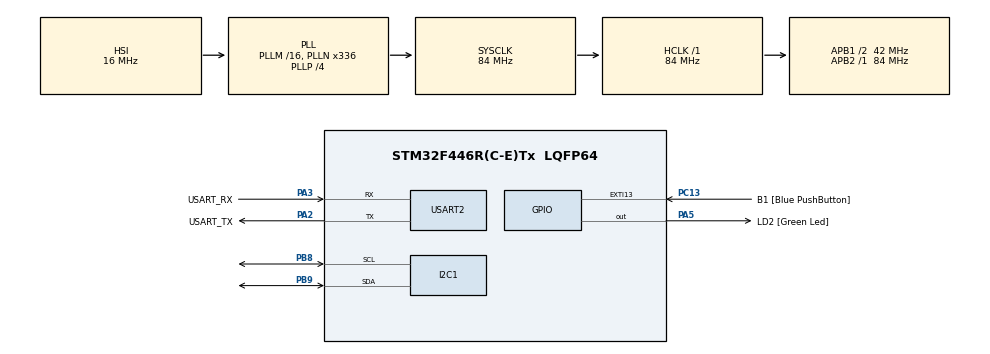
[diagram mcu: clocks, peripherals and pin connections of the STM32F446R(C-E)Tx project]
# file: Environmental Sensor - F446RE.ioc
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Dma.I2C1_RX.1.Direction=DMA_PERIPH_TO_MEMORY
Dma.I2C1_RX.1.FIFOMode=DMA_FIFOMODE_DISABLE
Dma.I2C1_RX.1.Instance=DMA1_Stream0
Dma.I2C1_RX.1.MemDataAlignment=DMA_MDATAALIGN_BYTE
Dma.I2C1_RX.1.MemInc=DMA_MINC_ENABLE
Dma.I2C1_RX.1.Mode=DMA_NORMAL
Dma.I2C1_RX.1.PeriphDataAlignment=DMA_PDATAALIGN_BYTE
Dma.I2C1_RX.1.PeriphInc=DMA_PINC_DISABLE
Dma.I2C1_RX.1.Priority=DMA_PRIORITY_LOW
Dma.I2C1_TX.0.Direction=DMA_MEMORY_TO_PERIPH
Dma.I2C1_TX.0.FIFOMode=DMA_FIFOMODE_DISABLE
Dma.I2C1_TX.0.Instance=DMA1_Stream6
Dma.I2C1_TX.0.MemDataAlignment=DMA_MDATAALIGN_BYTE
Dma.I2C1_TX.0.MemInc=DMA_MINC_ENABLE
Dma.I2C1_TX.0.Mode=DMA_NORMAL
Dma.I2C1_TX.0.PeriphDataAlignment=DMA_PDATAALIGN_BYTE
Dma.I2C1_TX.0.PeriphInc=DMA_PINC_DISABLE
Dma.I2C1_TX.0.Priority=DMA_PRIORITY_LOW
Dma.Request0=I2C1_TX
Dma.Request1=I2C1_RX
Mcu.Family=STM32F4
Mcu.Name=STM32F446R(C-E)Tx
Mcu.Package=LQFP64
NVIC.DMA1_Stream0_IRQn=true\:0\:0\:false\:false\:true\:false\:true\:true
NVIC.DMA1_Stream6_IRQn=true\:0\:0\:false\:false\:true\:false\:true\:true
NVIC.I2C1_EV_IRQn=true\:0\:0\:false\:false\:true\:true\:true\:true
NVIC.PriorityGroup=NVIC_PRIORITYGROUP_0
PA13.GPIO_Label=TMS
PA13.Mode=Serial_Wire
PA13.Signal=SYS_JTMS-SWDIO
PA14.GPIO_Label=TCK
PA14.Mode=Serial_Wire
PA14.Signal=SYS_JTCK-SWCLK
PA2.GPIO_Label=USART_TX
PA2.Mode=Asynchronous
PA2.Signal=USART2_TX
PA3.GPIO_Label=USART_RX
PA3.Mode=Asynchronous
PA3.Signal=USART2_RX
PA5.GPIO_Label=LD2 [Green Led]
PA5.Signal=GPIO_Output
PB3.GPIO_Label=SWO
PB3.Signal=SYS_JTDO-SWO
PB8.GPIO_Pu=GPIO_PULLUP
PB8.Mode=I2C
PB8.Signal=I2C1_SCL
PB9.GPIO_Pu=GPIO_PULLUP
PB9.Mode=I2C
PB9.Signal=I2C1_SDA
PC13.GPIO_Label=B1 [Blue PushButton]
PC13.GPIO_ModeDefaultEXTI=GPIO_MODE_IT_FALLING
PC13.Signal=GPXTI13
PC14-OSC32_IN.Mode=LSE-External-Oscillator
PC14-OSC32_IN.Signal=RCC_OSC32_IN
PC15-OSC32_OUT.Mode=LSE-External-Oscillator
PC15-OSC32_OUT.Signal=RCC_OSC32_OUT
PH0-OSC_IN.Mode=HSE-External-Oscillator
PH0-OSC_IN.Signal=RCC_OSC_IN
PH1-OSC_OUT.Mode=HSE-External-Oscillator
PH1-OSC_OUT.Signal=RCC_OSC_OUT
ProjectManager.HeapSize=0x200
ProjectManager.StackSize=0x400
ProjectManager.TargetToolchain=STM32CubeIDE
RCC.48MHZClocksFreq_Value=84000000
RCC.AHBFreq_Value=84000000
RCC.APB1CLKDivider=RCC_HCLK_DIV2
RCC.APB1Freq_Value=42000000
RCC.APB1TimFreq_Value=84000000
RCC.APB2Freq_Value=84000000
RCC.APB2TimFreq_Value=84000000
RCC.CortexFreq_Value=84000000
RCC.FLatency-AdvancedSettings=FLASH_LATENCY_2
RCC.HCLKFreq_Value=84000000
RCC.HSE_VALUE=8000000
RCC.HSI_VALUE=16000000
RCC.PLLN=336
RCC.PLLP=RCC_PLLP_DIV4
RCC.SYSCLKFreq_VALUE=84000000
RCC.SYSCLKSource=RCC_SYSCLKSOURCE_PLLCLK
RCC.USBFreq_Value=168000000
RCC.VCOOutputFreq_Value=336000000
USART2.VirtualMode=VM_ASYNC
board=NUCLEO-F446RE

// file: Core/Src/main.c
/* USER CODE BEGIN Header */
/**
  ******************************************************************************
  * @file           : main.c
  * @brief          : Main program body
  ******************************************************************************
  * @attention
  *
  * Copyright (c) 2023 STMicroelectronics.
  * All rights reserved.
  *
  * This software is licensed under terms that can be found in the LICENSE file
  * in the root directory of this software component.
  * If no LICENSE file comes with this software, it is provided AS-IS.
  *
  ******************************************************************************
  */
/* USER CODE END Header */
#include "main.h"

/* USER CODE BEGIN Includes */
#include <string.h>
#include <stdio.h>
/* USER CODE END Includes */

I2C_HandleTypeDef hi2c1;
DMA_HandleTypeDef hdma_i2c1_tx;
DMA_HandleTypeDef hdma_i2c1_rx;

UART_HandleTypeDef huart2;

/* USER CODE BEGIN PV */
static const uint8_t ENS160_ADDR = 0x53 << 1; // Use 8-bit address
// Register addresses
static const uint8_t REG_PART_ID = 0x00;
static const uint8_t REG_OPMODE = 0x10;
static const uint8_t REG_DATA_T = 0x30;
static const uint8_t REG_DATA_TVOC = 0x22;
// Register values
static const uint8_t OPMODE_STANDARD = 0x02;
/* USER CODE END PV */

void SystemClock_Config(void);
static void MX_GPIO_Init(void);
static void MX_DMA_Init(void);
static void MX_USART2_UART_Init(void);
static void MX_I2C1_Init(void);

int main(void)
{
  /* USER CODE BEGIN 1 */
	HAL_StatusTypeDef ret;
  uint8_t buf[24];
  int16_t val;
  /* USER CODE END 1 */

  /* MCU Configuration--------------------------------------------------------*/

  /* Reset of all peripherals, Initializes the Flash interface and the Systick. */
  HAL_Init();

  /* Configure the system clock */
  SystemClock_Config();

  /* Initialize all configured peripherals */
  MX_GPIO_Init();
  MX_DMA_Init();
  MX_USART2_UART_Init();
  MX_I2C1_Init();
  /* USER CODE BEGIN 2 */
  // Read the device ID
  buf[0] = REG_PART_ID;
  ret = HAL_I2C_Master_Transmit(&hi2c1, ENS160_ADDR, buf, 1, HAL_MAX_DELAY);
  if (ret != HAL_OK) {
	  strcpy((char*)buf, "Error TX\r\n");
  } else {
	  ret = HAL_I2C_Master_Receive(&hi2c1, ENS160_ADDR, buf, 2, HAL_MAX_DELAY);
	  if (ret != HAL_OK) {
		  strcpy((char*)buf, "Error Rx\r\n");
	  } else {
		  sprintf((char*)buf, "Device ID: 0x%x 0x%x\r\n", buf[0], buf[1]);
	  }
  }
  HAL_UART_Transmit(&huart2, buf, strlen((char*)buf), HAL_MAX_DELAY);

  // Change the sensor mode to standard mode
  buf[0] = REG_OPMODE;
  buf[1] = OPMODE_STANDARD;
  ret = HAL_I2C_Master_Transmit(&hi2c1, ENS160_ADDR, buf, 2, HAL_MAX_DELAY);
  if (ret != HAL_OK) {
	  strcpy((char*)buf, "Error TX\r\n");
	  HAL_UART_Transmit(&huart2, buf, strlen((char*)buf), HAL_MAX_DELAY);
  }

  // Read the sensor mode
  buf[0] = REG_OPMODE;
  ret = HAL_I2C_Master_Transmit(&hi2c1, ENS160_ADDR, buf, 1, HAL_MAX_DELAY);
  if (ret != HAL_OK) {
	  strcpy((char*)buf, "Error TX\r\n");
  } else {
	  ret = HAL_I2C_Master_Receive(&hi2c1, ENS160_ADDR, buf, 2, HAL_MAX_DELAY);
	  if (ret != HAL_OK) {
		  strcpy((char*)buf, "Error Rx\r\n");
	  } else {
		  val = ((int16_t)buf[0] << 4) | (buf[1] >> 4);
	  }
	  sprintf((char*)buf, "Mode: 0x%x\r\n", (unsigned int) val);
  }
  HAL_UART_Transmit(&huart2, buf, strlen((char*)buf), HAL_MAX_DELAY);
  /* USER CODE END 2 */

  /* Infinite loop */
  /* USER CODE BEGIN WHILE */
  while (1)
  {
	  sprintf((char*)buf, "---------------------\r\n");
	  HAL_UART_Transmit(&huart2, buf, strlen((char*)buf), HAL_MAX_DELAY);

	  // Read the temperature data used for calculation
	  buf[0] = REG_DATA_T;
	  ret = HAL_I2C_Master_Transmit(&hi2c1, ENS160_ADDR, buf, 1, HAL_MAX_DELAY);
	  if (ret != HAL_OK) {
		  strcpy((char*)buf, "Error TX\r\n");
	  } else {
		  ret = HAL_I2C_Master_Receive(&hi2c1, ENS160_ADDR, buf, 2, HAL_MAX_DELAY);
		  if (ret != HAL_OK) {
			  strcpy((char*)buf, "Error Rx\r\n");
		  } else {
			  sprintf((char*)buf, "Temperature: 0x%x 0x%x\r\n", buf[0], buf[1]);
		  }
	  }
	  HAL_UART_Transmit(&huart2, buf, strlen((char*)buf), HAL_MAX_DELAY);

	  // Read the TVOC data
	  buf[0] = REG_DATA_TVOC;
	  ret = HAL_I2C_Master_Transmit(&hi2c1, ENS160_ADDR, buf, 1, HAL_MAX_DELAY);
	  if (ret != HAL_OK) {
		  strcpy((char*)buf, "Error TX\r\n");
	  } else {
		  ret = HAL_I2C_Master_Receive(&hi2c1, ENS160_ADDR, buf, 2, HAL_MAX_DELAY);
		  if (ret != HAL_OK) {
			  strcpy((char*)buf, "Error Rx\r\n");
		  } else {
			  int total_value = ((uint16_t)(buf[0] << 4)) | (buf[1] >> 4);
			  sprintf((char*)buf, "TVOC: %u ppb\r\n", total_value);
		  }
	  }
	  HAL_UART_Transmit(&huart2, buf, strlen((char*)buf), HAL_MAX_DELAY);

	  HAL_Delay(1000);
    /* USER CODE END WHILE */

  }
}

void SystemClock_Config(void)
{
  RCC_OscInitTypeDef RCC_OscInitStruct = {0};
  RCC_ClkInitTypeDef RCC_ClkInitStruct = {0};

  /** Configure the main internal regulator output voltage
  */
  __HAL_RCC_PWR_CLK_ENABLE();
  __HAL_PWR_VOLTAGESCALING_CONFIG(PWR_REGULATOR_VOLTAGE_SCALE3);

  /** Initializes the RCC Oscillators according to the specified parameters
  * in the RCC_OscInitTypeDef structure.
  */
  RCC_OscInitStruct.OscillatorType = RCC_OSCILLATORTYPE_HSI;
  RCC_OscInitStruct.HSIState = RCC_HSI_ON;
  RCC_OscInitStruct.HSICalibrationValue = RCC_HSICALIBRATION_DEFAULT;
  RCC_OscInitStruct.PLL.PLLState = RCC_PLL_ON;
  RCC_OscInitStruct.PLL.PLLSource = RCC_PLLSOURCE_HSI;
  RCC_OscInitStruct.PLL.PLLM = 16;
  RCC_OscInitStruct.PLL.PLLN = 336;
  RCC_OscInitStruct.PLL.PLLP = RCC_PLLP_DIV4;
  RCC_OscInitStruct.PLL.PLLQ = 2;
  RCC_OscInitStruct.PLL.PLLR = 2;
  if (HAL_RCC_OscConfig(&RCC_OscInitStruct) != HAL_OK)
  {
    Error_Handler();
  }

  /** Initializes the CPU, AHB and APB buses clocks
  */
  RCC_ClkInitStruct.ClockType = RCC_CLOCKTYPE_HCLK|RCC_CLOCKTYPE_SYSCLK
                              |RCC_CLOCKTYPE_PCLK1|RCC_CLOCKTYPE_PCLK2;
  RCC_ClkInitStruct.SYSCLKSource = RCC_SYSCLKSOURCE_PLLCLK;
  RCC_ClkInitStruct.AHBCLKDivider = RCC_SYSCLK_DIV1;
  RCC_ClkInitStruct.APB1CLKDivider = RCC_HCLK_DIV2;
  RCC_ClkInitStruct.APB2CLKDivider = RCC_HCLK_DIV1;

  if (HAL_RCC_ClockConfig(&RCC_ClkInitStruct, FLASH_LATENCY_2) != HAL_OK)
  {
    Error_Handler();
  }
}

static void MX_I2C1_Init(void)
{

  hi2c1.Instance = I2C1;
  hi2c1.Init.ClockSpeed = 100000;
  hi2c1.Init.DutyCycle = I2C_DUTYCYCLE_2;
  hi2c1.Init.OwnAddress1 = 0;
  hi2c1.Init.AddressingMode = I2C_ADDRESSINGMODE_7BIT;
  hi2c1.Init.DualAddressMode = I2C_DUALADDRESS_DISABLE;
  hi2c1.Init.OwnAddress2 = 0;
  hi2c1.Init.GeneralCallMode = I2C_GENERALCALL_DISABLE;
  hi2c1.Init.NoStretchMode = I2C_NOSTRETCH_DISABLE;
  if (HAL_I2C_Init(&hi2c1) != HAL_OK)
  {
    Error_Handler();
  }

}

static void MX_USART2_UART_Init(void)
{

  huart2.Instance = USART2;
  huart2.Init.BaudRate = 115200;
  huart2.Init.WordLength = UART_WORDLENGTH_8B;
  huart2.Init.StopBits = UART_STOPBITS_1;
  huart2.Init.Parity = UART_PARITY_NONE;
  huart2.Init.Mode = UART_MODE_TX_RX;
  huart2.Init.HwFlowCtl = UART_HWCONTROL_NONE;
  huart2.Init.OverSampling = UART_OVERSAMPLING_16;
  if (HAL_UART_Init(&huart2) != HAL_OK)
  {
    Error_Handler();
  }

}

static void MX_DMA_Init(void)
{

  /* DMA controller clock enable */
  __HAL_RCC_DMA1_CLK_ENABLE();

  /* DMA interrupt init */
  /* DMA1_Stream0_IRQn interrupt configuration */
  HAL_NVIC_SetPriority(DMA1_Stream0_IRQn, 0, 0);
  HAL_NVIC_EnableIRQ(DMA1_Stream0_IRQn);
  /* DMA1_Stream6_IRQn interrupt configuration */
  HAL_NVIC_SetPriority(DMA1_Stream6_IRQn, 0, 0);
  HAL_NVIC_EnableIRQ(DMA1_Stream6_IRQn);

}

static void MX_GPIO_Init(void)
{
  GPIO_InitTypeDef GPIO_InitStruct = {0};

  /* GPIO Ports Clock Enable */
  __HAL_RCC_GPIOC_CLK_ENABLE();
  __HAL_RCC_GPIOH_CLK_ENABLE();
  __HAL_RCC_GPIOA_CLK_ENABLE();
  __HAL_RCC_GPIOB_CLK_ENABLE();

  /*Configure GPIO pin Output Level */
  HAL_GPIO_WritePin(LD2_GPIO_Port, LD2_Pin, GPIO_PIN_RESET);

  /*Configure GPIO pin : B1_Pin */
  GPIO_InitStruct.Pin = B1_Pin;
  GPIO_InitStruct.Mode = GPIO_MODE_IT_FALLING;
  GPIO_InitStruct.Pull = GPIO_NOPULL;
  HAL_GPIO_Init(B1_GPIO_Port, &GPIO_InitStruct);

  /*Configure GPIO pin : LD2_Pin */
  GPIO_InitStruct.Pin = LD2_Pin;
  GPIO_InitStruct.Mode = GPIO_MODE_OUTPUT_PP;
  GPIO_InitStruct.Pull = GPIO_NOPULL;
  GPIO_InitStruct.Speed = GPIO_SPEED_FREQ_LOW;
  HAL_GPIO_Init(LD2_GPIO_Port, &GPIO_InitStruct);

}

void Error_Handler(void)
{
  __disable_irq();
  while (1)
  {
  }
}
